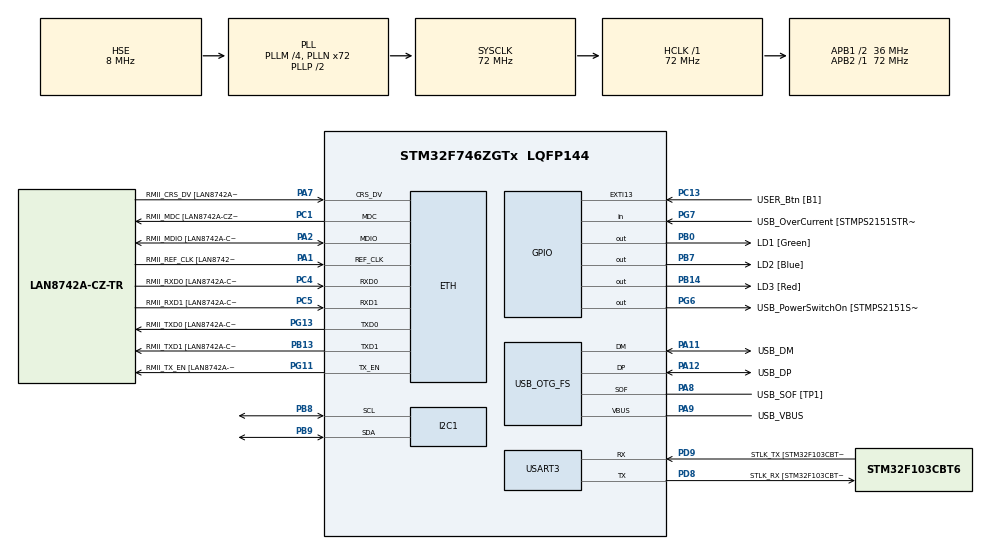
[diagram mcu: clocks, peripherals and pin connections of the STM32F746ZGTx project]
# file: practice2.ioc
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CORTEX_M7.default_mode_Activation=1
ETH.MediaInterface=HAL_ETH_RMII_MODE
ETH.PHY_Name=LAN8742A_PHY_ADDRESS
ETH.PHY_Value=0
ETH.PhyAddress=0
I2C1.Timing=0x00808CD2
Mcu.Family=STM32F7
Mcu.Name=STM32F746ZGTx
Mcu.Package=LQFP144
NVIC.PriorityGroup=NVIC_PRIORITYGROUP_4
PA1.GPIO_Label=RMII_REF_CLK [LAN8742A-CZ-TR_REFCLK0]
PA1.Mode=RMII
PA1.Signal=ETH_REF_CLK
PA10.GPIO_Label=USB_ID
PA10.Signal=USB_OTG_FS_ID
PA11.GPIO_Label=USB_DM
PA11.Mode=Device_Only
PA11.Signal=USB_OTG_FS_DM
PA12.GPIO_Label=USB_DP
PA12.Mode=Device_Only
PA12.Signal=USB_OTG_FS_DP
PA13.GPIO_Label=TMS
PA13.Mode=Trace_Asynchronous_SW
PA13.Signal=SYS_JTMS-SWDIO
PA14.GPIO_Label=TCK
PA14.Mode=Trace_Asynchronous_SW
PA14.Signal=SYS_JTCK-SWCLK
PA2.GPIO_Label=RMII_MDIO [LAN8742A-CZ-TR_MDIO]
PA2.Mode=RMII
PA2.Signal=ETH_MDIO
PA7.GPIO_Label=RMII_CRS_DV [LAN8742A-CZ-TR_CRS_DV]
PA7.Mode=RMII
PA7.Signal=ETH_CRS_DV
PA8.GPIO_Label=USB_SOF [TP1]
PA8.Mode=Activate_SOF_FS
PA8.Signal=USB_OTG_FS_SOF
PA9.GPIO_Label=USB_VBUS
PA9.Mode=Activate_VBUS
PA9.Signal=USB_OTG_FS_VBUS
PB0.GPIO_Label=LD1 [Green]
PB0.Signal=GPIO_Output
PB13.GPIO_Label=RMII_TXD1 [LAN8742A-CZ-TR_TXD1]
PB13.Mode=RMII
PB13.Signal=ETH_TXD1
PB14.GPIO_Label=LD3 [Red]
PB14.Signal=GPIO_Output
PB3.GPIO_Label=SW0
PB3.Mode=Trace_Asynchronous_SW
PB3.Signal=SYS_JTDO-SWO
PB7.GPIO_Label=LD2 [Blue]
PB7.Signal=GPIO_Output
PB8.Mode=I2C
PB8.Signal=I2C1_SCL
PB9.Mode=I2C
PB9.Signal=I2C1_SDA
PC1.GPIO_Label=RMII_MDC [LAN8742A-CZ-TR_MDC]
PC1.Mode=RMII
PC1.Signal=ETH_MDC
PC13.GPIO_Label=USER_Btn [B1]
PC13.Signal=GPXTI13
PC14/OSC32_IN.Mode=LSE-External-Oscillator
PC14/OSC32_IN.Signal=RCC_OSC32_IN
PC15/OSC32_OUT.Mode=LSE-External-Oscillator
PC15/OSC32_OUT.Signal=RCC_OSC32_OUT
PC4.GPIO_Label=RMII_RXD0 [LAN8742A-CZ-TR_RXD0]
PC4.Mode=RMII
PC4.Signal=ETH_RXD0
PC5.GPIO_Label=RMII_RXD1 [LAN8742A-CZ-TR_RXD1]
PC5.Mode=RMII
PC5.Signal=ETH_RXD1
PD8.GPIO_Label=STLK_RX [STM32F103CBT6_PA3]
PD8.GPIO_PuPd=GPIO_PULLUP
PD8.Mode=Asynchronous
PD8.Signal=USART3_TX
PD9.GPIO_Label=STLK_TX [STM32F103CBT6_PA2]
PD9.GPIO_PuPd=GPIO_PULLUP
PD9.Mode=Asynchronous
PD9.Signal=USART3_RX
PG11.GPIO_Label=RMII_TX_EN [LAN8742A-CZ-TR_TXEN]
PG11.Mode=RMII
PG11.Signal=ETH_TX_EN
PG13.GPIO_Label=RMII_TXD0 [LAN8742A-CZ-TR_TXD0]
PG13.Mode=RMII
PG13.Signal=ETH_TXD0
PG6.GPIO_Label=USB_PowerSwitchOn [STMPS2151STR_EN]
PG6.Signal=GPIO_Output
PG7.GPIO_Label=USB_OverCurrent [STMPS2151STR_FAULT]
PG7.Signal=GPIO_Input
PH0/OSC_IN.GPIO_Label=MCO [STM32F103CBT6_PA8]
PH0/OSC_IN.Mode=HSE-External-Clock-Source
PH0/OSC_IN.Signal=RCC_OSC_IN
PH1/OSC_OUT.Mode=HSE-External-Clock-Source
PH1/OSC_OUT.Signal=RCC_OSC_OUT
ProjectManager.HeapSize=0x200
ProjectManager.StackSize=0x400
ProjectManager.TargetToolchain=STM32CubeIDE
RCC.48MHZClocksFreq_Value=24000000
RCC.AHBFreq_Value=72000000
RCC.APB1CLKDivider=RCC_HCLK_DIV2
RCC.APB1Freq_Value=36000000
RCC.APB1TimFreq_Value=72000000
RCC.APB2Freq_Value=72000000
RCC.APB2TimFreq_Value=72000000
RCC.CortexFreq_Value=72000000
RCC.HCLKFreq_Value=72000000
RCC.HSE_VALUE=8000000
RCC.HSI_VALUE=16000000
RCC.PLLM=4
RCC.PLLMUL=RCC_PLL_MUL9
RCC.PLLN=72
RCC.PLLQ=3
RCC.PRESCALERUSB=RCC_USBCLKSOURCE_PLL_DIV1_5
RCC.SYSCLKFreq_VALUE=72000000
RCC.SYSCLKSource=RCC_SYSCLKSOURCE_PLLCLK
RCC.SYSCLKSourceVirtual=RCC_SYSCLKSOURCE_PLLCLK
RCC.USBFreq_Value=48000000
RCC.VCOOutputFreq_Value=144000000
USART3.VirtualMode-Asynchronous=VM_ASYNC
USB_OTG_FS.VirtualMode=Device_Only
board=NUCLEO-F746ZG

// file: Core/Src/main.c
/* USER CODE BEGIN Header */
/**
  ******************************************************************************
  * @file           : main.c
  * @brief          : Main program body
  ******************************************************************************
  * @attention
  *
  * Copyright (c) 2026 STMicroelectronics.
  * All rights reserved.
  *
  * This software is licensed under terms that can be found in the LICENSE file
  * in the root directory of this software component.
  * If no LICENSE file comes with this software, it is provided AS-IS.
  *
  ******************************************************************************
  */
/* USER CODE END Header */
#include "main.h"
#include "string.h"

/* USER CODE BEGIN Includes */
#include "stdio.h"
/* USER CODE END Includes */

#if defined ( __ICCARM__ ) /*!< IAR Compiler */
#pragma location=0x2004c000
ETH_DMADescTypeDef  DMARxDscrTab[ETH_RX_DESC_CNT]; /* Ethernet Rx DMA Descriptors */
#pragma location=0x2004c0a0
ETH_DMADescTypeDef  DMATxDscrTab[ETH_TX_DESC_CNT]; /* Ethernet Tx DMA Descriptors */

#elif defined ( __CC_ARM )  /* MDK ARM Compiler */

__attribute__((at(0x2004c000))) ETH_DMADescTypeDef  DMARxDscrTab[ETH_RX_DESC_CNT]; /* Ethernet Rx DMA Descriptors */
__attribute__((at(0x2004c0a0))) ETH_DMADescTypeDef  DMATxDscrTab[ETH_TX_DESC_CNT]; /* Ethernet Tx DMA Descriptors */

#elif defined ( __GNUC__ ) /* GNU Compiler */

ETH_DMADescTypeDef DMARxDscrTab[ETH_RX_DESC_CNT] __attribute__((section(".RxDecripSection"))); /* Ethernet Rx DMA Descriptors */
ETH_DMADescTypeDef DMATxDscrTab[ETH_TX_DESC_CNT] __attribute__((section(".TxDecripSection")));   /* Ethernet Tx DMA Descriptors */
#endif

ETH_TxPacketConfig TxConfig;

ETH_HandleTypeDef heth;

I2C_HandleTypeDef hi2c1;

UART_HandleTypeDef huart3;

PCD_HandleTypeDef hpcd_USB_OTG_FS;

void SystemClock_Config(void);
static void MPU_Config(void);
static void MX_GPIO_Init(void);
static void MX_ETH_Init(void);
static void MX_I2C1_Init(void);
static void MX_USART3_UART_Init(void);
static void MX_USB_OTG_FS_PCD_Init(void);

int main(void)
{

  /* USER CODE BEGIN 1 */
	GPIO_PinState button_curr = GPIO_PIN_RESET;
	GPIO_PinState button_prev = GPIO_PIN_RESET;
	GPIO_PinState button_temp = GPIO_PIN_RESET;
	int32_t count = 0;
	int16_t i = 0;
  /* USER CODE END 1 */

  /* MPU Configuration--------------------------------------------------------*/
  MPU_Config();

  /* MCU Configuration--------------------------------------------------------*/

  /* Reset of all peripherals, Initializes the Flash interface and the Systick. */
  HAL_Init();

  /* Configure the system clock */
  SystemClock_Config();

  /* Initialize all configured peripherals */
  MX_GPIO_Init();
  MX_ETH_Init();
  MX_I2C1_Init();
  MX_USART3_UART_Init();
  MX_USB_OTG_FS_PCD_Init();

  /* Infinite loop */
  /* USER CODE BEGIN WHILE */
  while (1)
  {
	  /*
	  button_temp = HAL_GPIO_ReadPin(GPIOC, GPIO_PIN_13);
	  HAL_Delay(1);
	  if(button_temp == HAL_GPIO_ReadPin(GPIOC, GPIO_PIN_13))
	  {
		  button_curr = button_temp;
	  }
	  if(button_curr == GPIO_PIN_RESET && button_prev == GPIO_PIN_SET)
	  {
		  printf("You pressed the button %d times. \r\n", (int)++count);
	  }
	  button_prev = button_curr;
	  */

	  /* no 2.8
	  button_temp = HAL_GPIO_ReadPin(GPIOC, GPIO_PIN_13);
	  HAL_Delay(1);

	  //HAL_GPIO_WritePin(GPIOB, GPIO_PIN_7, GPIO_PIN_SET);

	  if(button_temp == HAL_GPIO_ReadPin(GPIOC, GPIO_PIN_13))
	  {
		  button_curr = button_temp;
	  }
	  if(button_curr == GPIO_PIN_RESET && button_prev == GPIO_PIN_SET)
	  {
		  HAL_GPIO_TogglePin(GPIOB, GPIO_PIN_7);
	  }
	  button_prev = button_curr;*/

	  // no2.8
	  button_temp = HAL_GPIO_ReadPin(GPIOC, GPIO_PIN_13);
	  HAL_Delay(10);

	  if(button_temp == HAL_GPIO_ReadPin(GPIOC, GPIO_PIN_13))
	  {
		  button_curr = button_temp;
	  }
	  if(button_curr == GPIO_PIN_RESET && button_prev == GPIO_PIN_SET)
	  {
		  count++;
		  if(count==5)
		  {
			  count = 0;
		  }
		  for(i=0;i<count;i++)
		  {
			  HAL_GPIO_TogglePin(GPIOB, GPIO_PIN_7);
			  HAL_Delay(500);
			  HAL_GPIO_TogglePin(GPIOB, GPIO_PIN_7);
			  HAL_Delay(500);
		  }
	  }
	  button_prev = button_curr;

    /* USER CODE END WHILE */

  }
}

void SystemClock_Config(void)
{
  RCC_OscInitTypeDef RCC_OscInitStruct = {0};
  RCC_ClkInitTypeDef RCC_ClkInitStruct = {0};

  /** Configure LSE Drive Capability
  */
  HAL_PWR_EnableBkUpAccess();

  /** Configure the main internal regulator output voltage
  */
  __HAL_RCC_PWR_CLK_ENABLE();
  __HAL_PWR_VOLTAGESCALING_CONFIG(PWR_REGULATOR_VOLTAGE_SCALE3);

  /** Initializes the RCC Oscillators according to the specified parameters
  * in the RCC_OscInitTypeDef structure.
  */
  RCC_OscInitStruct.OscillatorType = RCC_OSCILLATORTYPE_HSE;
  RCC_OscInitStruct.HSEState = RCC_HSE_BYPASS;
  RCC_OscInitStruct.PLL.PLLState = RCC_PLL_ON;
  RCC_OscInitStruct.PLL.PLLSource = RCC_PLLSOURCE_HSE;
  RCC_OscInitStruct.PLL.PLLM = 4;
  RCC_OscInitStruct.PLL.PLLN = 72;
  RCC_OscInitStruct.PLL.PLLP = RCC_PLLP_DIV2;
  RCC_OscInitStruct.PLL.PLLQ = 3;
  if (HAL_RCC_OscConfig(&RCC_OscInitStruct) != HAL_OK)
  {
    Error_Handler();
  }

  /** Initializes the CPU, AHB and APB buses clocks
  */
  RCC_ClkInitStruct.ClockType = RCC_CLOCKTYPE_HCLK|RCC_CLOCKTYPE_SYSCLK
                              |RCC_CLOCKTYPE_PCLK1|RCC_CLOCKTYPE_PCLK2;
  RCC_ClkInitStruct.SYSCLKSource = RCC_SYSCLKSOURCE_PLLCLK;
  RCC_ClkInitStruct.AHBCLKDivider = RCC_SYSCLK_DIV1;
  RCC_ClkInitStruct.APB1CLKDivider = RCC_HCLK_DIV2;
  RCC_ClkInitStruct.APB2CLKDivider = RCC_HCLK_DIV1;

  if (HAL_RCC_ClockConfig(&RCC_ClkInitStruct, FLASH_LATENCY_2) != HAL_OK)
  {
    Error_Handler();
  }
}

static void MX_ETH_Init(void)
{

   static uint8_t MACAddr[6];

  heth.Instance = ETH;
  MACAddr[0] = 0x00;
  MACAddr[1] = 0x80;
  MACAddr[2] = 0xE1;
  MACAddr[3] = 0x00;
  MACAddr[4] = 0x00;
  MACAddr[5] = 0x00;
  heth.Init.MACAddr = &MACAddr[0];
  heth.Init.MediaInterface = HAL_ETH_RMII_MODE;
  heth.Init.TxDesc = DMATxDscrTab;
  heth.Init.RxDesc = DMARxDscrTab;
  heth.Init.RxBuffLen = 1524;

  if (HAL_ETH_Init(&heth) != HAL_OK)
  {
    Error_Handler();
  }

  memset(&TxConfig, 0 , sizeof(ETH_TxPacketConfig));
  TxConfig.Attributes = ETH_TX_PACKETS_FEATURES_CSUM | ETH_TX_PACKETS_FEATURES_CRCPAD;
  TxConfig.ChecksumCtrl = ETH_CHECKSUM_IPHDR_PAYLOAD_INSERT_PHDR_CALC;
  TxConfig.CRCPadCtrl = ETH_CRC_PAD_INSERT;

}

static void MX_I2C1_Init(void)
{

  hi2c1.Instance = I2C1;
  hi2c1.Init.Timing = 0x00808CD2;
  hi2c1.Init.OwnAddress1 = 0;
  hi2c1.Init.AddressingMode = I2C_ADDRESSINGMODE_7BIT;
  hi2c1.Init.DualAddressMode = I2C_DUALADDRESS_DISABLE;
  hi2c1.Init.OwnAddress2 = 0;
  hi2c1.Init.OwnAddress2Masks = I2C_OA2_NOMASK;
  hi2c1.Init.GeneralCallMode = I2C_GENERALCALL_DISABLE;
  hi2c1.Init.NoStretchMode = I2C_NOSTRETCH_DISABLE;
  if (HAL_I2C_Init(&hi2c1) != HAL_OK)
  {
    Error_Handler();
  }

  /** Configure Analogue filter
  */
  if (HAL_I2CEx_ConfigAnalogFilter(&hi2c1, I2C_ANALOGFILTER_ENABLE) != HAL_OK)
  {
    Error_Handler();
  }

  /** Configure Digital filter
  */
  if (HAL_I2CEx_ConfigDigitalFilter(&hi2c1, 0) != HAL_OK)
  {
    Error_Handler();
  }

}

static void MX_USART3_UART_Init(void)
{

  huart3.Instance = USART3;
  huart3.Init.BaudRate = 115200;
  huart3.Init.WordLength = UART_WORDLENGTH_8B;
  huart3.Init.StopBits = UART_STOPBITS_1;
  huart3.Init.Parity = UART_PARITY_NONE;
  huart3.Init.Mode = UART_MODE_TX_RX;
  huart3.Init.HwFlowCtl = UART_HWCONTROL_NONE;
  huart3.Init.OverSampling = UART_OVERSAMPLING_16;
  huart3.Init.OneBitSampling = UART_ONE_BIT_SAMPLE_DISABLE;
  huart3.AdvancedInit.AdvFeatureInit = UART_ADVFEATURE_NO_INIT;
  if (HAL_UART_Init(&huart3) != HAL_OK)
  {
    Error_Handler();
  }

}

static void MX_USB_OTG_FS_PCD_Init(void)
{

  hpcd_USB_OTG_FS.Instance = USB_OTG_FS;
  hpcd_USB_OTG_FS.Init.dev_endpoints = 6;
  hpcd_USB_OTG_FS.Init.speed = PCD_SPEED_FULL;
  hpcd_USB_OTG_FS.Init.dma_enable = DISABLE;
  hpcd_USB_OTG_FS.Init.phy_itface = PCD_PHY_EMBEDDED;
  hpcd_USB_OTG_FS.Init.Sof_enable = ENABLE;
  hpcd_USB_OTG_FS.Init.low_power_enable = DISABLE;
  hpcd_USB_OTG_FS.Init.lpm_enable = DISABLE;
  hpcd_USB_OTG_FS.Init.vbus_sensing_enable = ENABLE;
  hpcd_USB_OTG_FS.Init.use_dedicated_ep1 = DISABLE;
  if (HAL_PCD_Init(&hpcd_USB_OTG_FS) != HAL_OK)
  {
    Error_Handler();
  }

}

static void MX_GPIO_Init(void)
{
  GPIO_InitTypeDef GPIO_InitStruct = {0};

  /* GPIO Ports Clock Enable */
  __HAL_RCC_GPIOC_CLK_ENABLE();
  __HAL_RCC_GPIOH_CLK_ENABLE();
  __HAL_RCC_GPIOA_CLK_ENABLE();
  __HAL_RCC_GPIOB_CLK_ENABLE();
  __HAL_RCC_GPIOD_CLK_ENABLE();
  __HAL_RCC_GPIOG_CLK_ENABLE();

  /*Configure GPIO pin Output Level */
  HAL_GPIO_WritePin(GPIOB, LD1_Pin|LD3_Pin|LD2_Pin, GPIO_PIN_RESET);

  /*Configure GPIO pin Output Level */
  HAL_GPIO_WritePin(USB_PowerSwitchOn_GPIO_Port, USB_PowerSwitchOn_Pin, GPIO_PIN_RESET);

  /*Configure GPIO pin : USER_Btn_Pin */
  GPIO_InitStruct.Pin = USER_Btn_Pin;
  GPIO_InitStruct.Mode = GPIO_MODE_IT_RISING;
  GPIO_InitStruct.Pull = GPIO_NOPULL;
  HAL_GPIO_Init(USER_Btn_GPIO_Port, &GPIO_InitStruct);

  /*Configure GPIO pins : LD1_Pin LD3_Pin LD2_Pin */
  GPIO_InitStruct.Pin = LD1_Pin|LD3_Pin|LD2_Pin;
  GPIO_InitStruct.Mode = GPIO_MODE_OUTPUT_PP;
  GPIO_InitStruct.Pull = GPIO_NOPULL;
  GPIO_InitStruct.Speed = GPIO_SPEED_FREQ_LOW;
  HAL_GPIO_Init(GPIOB, &GPIO_InitStruct);

  /*Configure GPIO pin : USB_PowerSwitchOn_Pin */
  GPIO_InitStruct.Pin = USB_PowerSwitchOn_Pin;
  GPIO_InitStruct.Mode = GPIO_MODE_OUTPUT_PP;
  GPIO_InitStruct.Pull = GPIO_NOPULL;
  GPIO_InitStruct.Speed = GPIO_SPEED_FREQ_LOW;
  HAL_GPIO_Init(USB_PowerSwitchOn_GPIO_Port, &GPIO_InitStruct);

  /*Configure GPIO pin : USB_OverCurrent_Pin */
  GPIO_InitStruct.Pin = USB_OverCurrent_Pin;
  GPIO_InitStruct.Mode = GPIO_MODE_INPUT;
  GPIO_InitStruct.Pull = GPIO_NOPULL;
  HAL_GPIO_Init(USB_OverCurrent_GPIO_Port, &GPIO_InitStruct);

}

/* USER CODE BEGIN 4 */
int __io_putchar(int ch)
{
    ITM_SendChar(ch);
    return 0;
}
/* USER CODE END 4 */

 /* MPU Configuration */

void MPU_Config(void)
{
  MPU_Region_InitTypeDef MPU_InitStruct = {0};

  /* Disables the MPU */
  HAL_MPU_Disable();

  /** Initializes and configures the Region and the memory to be protected
  */
  MPU_InitStruct.Enable = MPU_REGION_ENABLE;
  MPU_InitStruct.Number = MPU_REGION_NUMBER0;
  MPU_InitStruct.BaseAddress = 0x0;
  MPU_InitStruct.Size = MPU_REGION_SIZE_4GB;
  MPU_InitStruct.SubRegionDisable = 0x87;
  MPU_InitStruct.TypeExtField = MPU_TEX_LEVEL0;
  MPU_InitStruct.AccessPermission = MPU_REGION_NO_ACCESS;
  MPU_InitStruct.DisableExec = MPU_INSTRUCTION_ACCESS_DISABLE;
  MPU_InitStruct.IsShareable = MPU_ACCESS_SHAREABLE;
  MPU_InitStruct.IsCacheable = MPU_ACCESS_NOT_CACHEABLE;
  MPU_InitStruct.IsBufferable = MPU_ACCESS_NOT_BUFFERABLE;

  HAL_MPU_ConfigRegion(&MPU_InitStruct);
  /* Enables the MPU */
  HAL_MPU_Enable(MPU_PRIVILEGED_DEFAULT);

}

void Error_Handler(void)
{
  __disable_irq();
  while (1)
  {
  }
}
